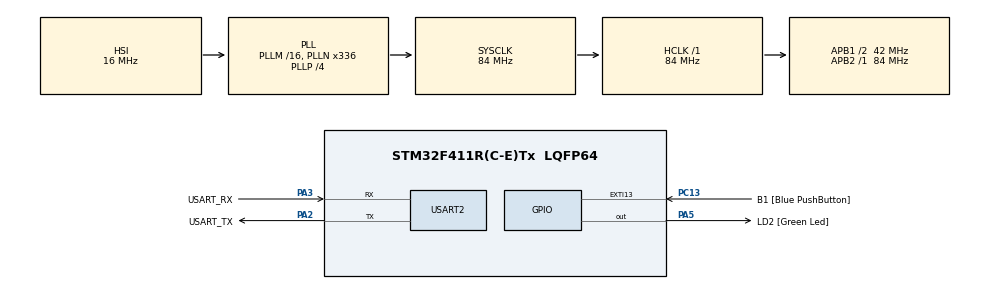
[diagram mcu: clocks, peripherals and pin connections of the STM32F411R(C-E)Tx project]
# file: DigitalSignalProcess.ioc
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Mcu.Family=STM32F4
Mcu.Name=STM32F411R(C-E)Tx
Mcu.Package=LQFP64
NVIC.PriorityGroup=NVIC_PRIORITYGROUP_0
PA13.GPIO_Label=TMS
PA13.Mode=Trace_Asynchronous_SW
PA13.Signal=SYS_JTMS-SWDIO
PA14.GPIO_Label=TCK
PA14.Mode=Trace_Asynchronous_SW
PA14.Signal=SYS_JTCK-SWCLK
PA2.GPIO_Label=USART_TX
PA2.Mode=Asynchronous
PA2.Signal=USART2_TX
PA3.GPIO_Label=USART_RX
PA3.Mode=Asynchronous
PA3.Signal=USART2_RX
PA5.GPIO_Label=LD2 [Green Led]
PA5.Signal=GPIO_Output
PB3.GPIO_Label=SWO
PB3.Mode=Trace_Asynchronous_SW
PB3.Signal=SYS_JTDO-SWO
PC13-ANTI_TAMP.GPIO_Label=B1 [Blue PushButton]
PC13-ANTI_TAMP.GPIO_ModeDefaultEXTI=GPIO_MODE_IT_FALLING
PC13-ANTI_TAMP.Signal=GPXTI13
PC14-OSC32_IN.Mode=LSE-External-Oscillator
PC14-OSC32_IN.Signal=RCC_OSC32_IN
PC15-OSC32_OUT.Mode=LSE-External-Oscillator
PC15-OSC32_OUT.Signal=RCC_OSC32_OUT
PH0\ -\ OSC_IN.Mode=HSE-External-Clock-Source
PH0\ -\ OSC_IN.Signal=RCC_OSC_IN
PH1\ -\ OSC_OUT.Mode=HSE-External-Clock-Source
PH1\ -\ OSC_OUT.Signal=RCC_OSC_OUT
ProjectManager.HeapSize=0x200
ProjectManager.StackSize=0x400
ProjectManager.TargetToolchain=STM32CubeIDE
RCC.48MHZClocksFreq_Value=84000000
RCC.AHBFreq_Value=84000000
RCC.APB1CLKDivider=RCC_HCLK_DIV2
RCC.APB1Freq_Value=42000000
RCC.APB1TimFreq_Value=84000000
RCC.APB2Freq_Value=84000000
RCC.APB2TimFreq_Value=84000000
RCC.CortexFreq_Value=84000000
RCC.FLatency-AdvancedSettings=FLASH_LATENCY_2
RCC.HCLKFreq_Value=84000000
RCC.HSE_VALUE=8000000
RCC.HSI_VALUE=16000000
RCC.PLLN=336
RCC.PLLP=RCC_PLLP_DIV4
RCC.SYSCLKFreq_VALUE=84000000
RCC.SYSCLKSource=RCC_SYSCLKSOURCE_PLLCLK
RCC.VCOOutputFreq_Value=336000000
USART2.VirtualMode=VM_ASYNC
board=NUCLEO-F411RE

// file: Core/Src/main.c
/* USER CODE BEGIN Header */
/**
  ******************************************************************************
  * @file           : main.c
  * @brief          : Main program body
  ******************************************************************************
  * @attention
  *
  * Copyright (c) 2023 STMicroelectronics.
  * All rights reserved.
  *
  * This software is licensed under terms that can be found in the LICENSE file
  * in the root directory of this software component.
  * If no LICENSE file comes with this software, it is provided AS-IS.
  *
  ******************************************************************************
  */
/* USER CODE END Header */
#include "main.h"

/* USER CODE BEGIN Includes */
#include "arm_math.h"
/* USER CODE END Includes */

UART_HandleTypeDef huart2;

/* USER CODE BEGIN PV */
//float32_t A_f32[16] = {
//		1,  2,  3,  4,
//		5,  6,  7,  8,
//		9,  10, 11, 12,
//		13, 14, 15, 16
//};
//arm_matrix_instance_f32 A;
//
//float32_t B_f32[4] = {
//		1,
//		2,
//		3,
//		4
//};
//arm_matrix_instance_f32 B;
//
//float32_t At_f32[16];
//arm_matrix_instance_f32 At;
//
//float32_t AtmA_f32[16];
//arm_matrix_instance_f32 AtmA;
//
//float32_t AaB_f32[16];
//arm_matrix_instance_f32 AaB;
//
//float32_t AmB_f32[4];
//arm_matrix_instance_f32 AmB;
//
//volatile arm_status CalcSt;

arm_pid_instance_f32 PID = {0};
float position = 0;
float setposition = 0;
float Vfeedback = 0;
/* USER CODE END PV */

void SystemClock_Config(void);
static void MX_GPIO_Init(void);
static void MX_USART2_UART_Init(void);
/* USER CODE BEGIN PFP */
float PlantSimulation(float VIn);
/* USER CODE END PFP */

int main(void)
{

  /* MCU Configuration--------------------------------------------------------*/

  /* Reset of all peripherals, Initializes the Flash interface and the Systick. */
  HAL_Init();

  /* Configure the system clock */
  SystemClock_Config();

  /* Initialize all configured peripherals */
  MX_GPIO_Init();
  MX_USART2_UART_Init();
  /* USER CODE BEGIN 2 */
//  arm_mat_init_f32(&A, 4, 4, (float32_t*)&A_f32);
//  arm_mat_init_f32(&At, 4, 4, (float32_t*)&At_f32);
//  arm_mat_init_f32(&AtmA, 4, 4, (float32_t*)&AtmA_f32);
//  arm_mat_init_f32(&B, 4, 1, (float32_t*)&B_f32);
//  arm_mat_init_f32(&AaB, 4, 4, (float32_t*)&AaB_f32);
//  arm_mat_init_f32(&AmB, 4, 1, (float32_t*)&AmB_f32);

  PID.Kp = 0.1;
  PID.Ki = 0.0001;
  PID.Kd = 0.1;
  arm_pid_init_f32(&PID, 0);
  /* USER CODE END 2 */

  /* Infinite loop */
  while (1)
  {

    /* USER CODE BEGIN 3 */
//	  static GPIO_PinState B1[2];
//	  B1[0] = HAL_GPIO_ReadPin(B1_GPIO_Port, B1_Pin);
//	  if (B1[0] == 0 && B1[1] == 1)
//	  {
//		  CalcSt = arm_mat_trans_f32(&A, &At);
//		  CalcSt = arm_mat_mult_f32(&At, &A, &AtmA);
//		  CalcSt = arm_mat_add_f32(&A, &B, &AaB);
//		  CalcSt = arm_mat_mult_f32(&A, &B, &AmB);
//	  }
//	  B1[1] = B1[0];

	  static uint32_t timestep = 0;
	  if (timestep < HAL_GetTick())
	  {
		  timestep = HAL_GetTick() + 10;

		  Vfeedback = arm_pid_f32(&PID, setposition-position);
		  position = PlantSimulation(Vfeedback);
	  }
  }
  /* USER CODE END 3 */
}

void SystemClock_Config(void)
{
  RCC_OscInitTypeDef RCC_OscInitStruct = {0};
  RCC_ClkInitTypeDef RCC_ClkInitStruct = {0};

  /** Configure the main internal regulator output voltage
  */
  __HAL_RCC_PWR_CLK_ENABLE();
  __HAL_PWR_VOLTAGESCALING_CONFIG(PWR_REGULATOR_VOLTAGE_SCALE1);

  /** Initializes the RCC Oscillators according to the specified parameters
  * in the RCC_OscInitTypeDef structure.
  */
  RCC_OscInitStruct.OscillatorType = RCC_OSCILLATORTYPE_HSI;
  RCC_OscInitStruct.HSIState = RCC_HSI_ON;
  RCC_OscInitStruct.HSICalibrationValue = RCC_HSICALIBRATION_DEFAULT;
  RCC_OscInitStruct.PLL.PLLState = RCC_PLL_ON;
  RCC_OscInitStruct.PLL.PLLSource = RCC_PLLSOURCE_HSI;
  RCC_OscInitStruct.PLL.PLLM = 16;
  RCC_OscInitStruct.PLL.PLLN = 336;
  RCC_OscInitStruct.PLL.PLLP = RCC_PLLP_DIV4;
  RCC_OscInitStruct.PLL.PLLQ = 4;
  if (HAL_RCC_OscConfig(&RCC_OscInitStruct) != HAL_OK)
  {
    Error_Handler();
  }

  /** Initializes the CPU, AHB and APB buses clocks
  */
  RCC_ClkInitStruct.ClockType = RCC_CLOCKTYPE_HCLK|RCC_CLOCKTYPE_SYSCLK
                              |RCC_CLOCKTYPE_PCLK1|RCC_CLOCKTYPE_PCLK2;
  RCC_ClkInitStruct.SYSCLKSource = RCC_SYSCLKSOURCE_PLLCLK;
  RCC_ClkInitStruct.AHBCLKDivider = RCC_SYSCLK_DIV1;
  RCC_ClkInitStruct.APB1CLKDivider = RCC_HCLK_DIV2;
  RCC_ClkInitStruct.APB2CLKDivider = RCC_HCLK_DIV1;

  if (HAL_RCC_ClockConfig(&RCC_ClkInitStruct, FLASH_LATENCY_2) != HAL_OK)
  {
    Error_Handler();
  }
}

static void MX_USART2_UART_Init(void)
{

  huart2.Instance = USART2;
  huart2.Init.BaudRate = 115200;
  huart2.Init.WordLength = UART_WORDLENGTH_8B;
  huart2.Init.StopBits = UART_STOPBITS_1;
  huart2.Init.Parity = UART_PARITY_NONE;
  huart2.Init.Mode = UART_MODE_TX_RX;
  huart2.Init.HwFlowCtl = UART_HWCONTROL_NONE;
  huart2.Init.OverSampling = UART_OVERSAMPLING_16;
  if (HAL_UART_Init(&huart2) != HAL_OK)
  {
    Error_Handler();
  }

}

static void MX_GPIO_Init(void)
{
  GPIO_InitTypeDef GPIO_InitStruct = {0};

  /* GPIO Ports Clock Enable */
  __HAL_RCC_GPIOC_CLK_ENABLE();
  __HAL_RCC_GPIOH_CLK_ENABLE();
  __HAL_RCC_GPIOA_CLK_ENABLE();
  __HAL_RCC_GPIOB_CLK_ENABLE();

  /*Configure GPIO pin Output Level */
  HAL_GPIO_WritePin(LD2_GPIO_Port, LD2_Pin, GPIO_PIN_RESET);

  /*Configure GPIO pin : B1_Pin */
  GPIO_InitStruct.Pin = B1_Pin;
  GPIO_InitStruct.Mode = GPIO_MODE_IT_FALLING;
  GPIO_InitStruct.Pull = GPIO_NOPULL;
  HAL_GPIO_Init(B1_GPIO_Port, &GPIO_InitStruct);

  /*Configure GPIO pin : LD2_Pin */
  GPIO_InitStruct.Pin = LD2_Pin;
  GPIO_InitStruct.Mode = GPIO_MODE_OUTPUT_PP;
  GPIO_InitStruct.Pull = GPIO_NOPULL;
  GPIO_InitStruct.Speed = GPIO_SPEED_FREQ_LOW;
  HAL_GPIO_Init(LD2_GPIO_Port, &GPIO_InitStruct);

}

/* USER CODE BEGIN 4 */
float PlantSimulation(float VIn)
{
	static float speed = 0;
	static float position = 0;
	float current = VIn-speed*0.0123;
	float torque = current*0.456;
	float acc = torque*0.789;
	speed += acc;
	position += speed;
	return position;
}
/* USER CODE END 4 */

void Error_Handler(void)
{
  __disable_irq();
  while (1)
  {
  }
}
